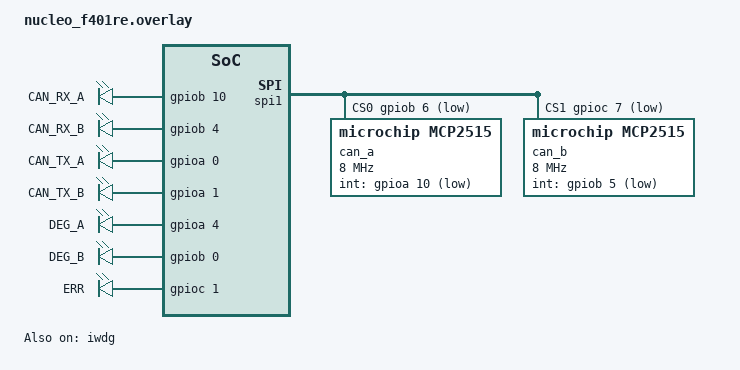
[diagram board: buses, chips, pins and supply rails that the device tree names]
/*
 * car_can_app - pins shared by N2 and N3 (Team 2 wiring)
 *
 *   CAN modules (XIAO MCP2515 + SN65HVD230), both on SPI1
 *     SCK PA5 (D13)  MOSI PA7 (D11)  MISO PA6 (D12)   shared
 *     CAN A: CS PB6 (D10)  INT PA10 (D2)
 *     CAN B: CS PC7 (D9)   INT PB5  (D4)
 *     Crystal 16.000 MHz (read off the module), 500 kbit/s
 *
 *   Test points / LEDs
 *     CAN_RX_A PB10 (D6)   CAN_RX_B PB4 (D5)
 *     CAN_TX_A PA0  (A0)   CAN_TX_B PA1 (A1)
 *     DEG_A    PA4  (A2)   DEG_B    PB0 (A3)
 *     ERR      PC1  (A4)
 *   Test button: B1, PC13 (board user button, sw0)
 *
 * Zone-specific pins are in node2.overlay / node3.overlay.
 */

/ {
    /* Plain GPIO outputs. gpio-leds is used only as a "named GPIO"
     * binding; no LED driver is enabled. */
    testpoints {
        compatible = "gpio-leds";

        tp_can_rx_a: tp_can_rx_a { gpios = <&gpiob 10 GPIO_ACTIVE_HIGH>; label = "CAN_RX_A"; };
        tp_can_rx_b: tp_can_rx_b { gpios = <&gpiob 4  GPIO_ACTIVE_HIGH>; label = "CAN_RX_B"; };
        tp_can_tx_a: tp_can_tx_a { gpios = <&gpioa 0  GPIO_ACTIVE_HIGH>; label = "CAN_TX_A"; };
        tp_can_tx_b: tp_can_tx_b { gpios = <&gpioa 1  GPIO_ACTIVE_HIGH>; label = "CAN_TX_B"; };
        led_deg_a:   led_deg_a   { gpios = <&gpioa 4  GPIO_ACTIVE_HIGH>; label = "DEG_A"; };
        led_deg_b:   led_deg_b   { gpios = <&gpiob 0  GPIO_ACTIVE_HIGH>; label = "DEG_B"; };
        tp_err:      tp_err      { gpios = <&gpioc 1  GPIO_ACTIVE_HIGH>; label = "ERR"; };
    };

    /* Board LED PWM uses TIM2 on PA5, which is SPI1 SCK here */
    pwmleds {
        status = "disabled";
    };
};

/* Board defaults that claim pins used here */
&usart1 { status = "disabled"; };   /* PB6 = CAN A chip select */
&i2c1   { status = "disabled"; };   /* PB8 = servo PWM on N2 */
&pwm2   { status = "disabled"; };   /* TIM2 on PA5 */

/* Independent watchdog (R4.5) */
&iwdg {
    status = "okay";
};

&spi1 {
    status = "okay";
    cs-gpios = <&gpiob 6 (GPIO_ACTIVE_LOW | GPIO_PULL_UP)>,   /* reg 0: CAN A */
               <&gpioc 7 (GPIO_ACTIVE_LOW | GPIO_PULL_UP)>;   /* reg 1: CAN B */

    can_a: mcp2515@0 {
        compatible = "microchip,mcp2515";
        reg = <0>;
        spi-max-frequency = <8000000>;      /* MCP2515 max 10 MHz; margin for jumpers */
        int-gpios = <&gpioa 10 GPIO_ACTIVE_LOW>;
        osc-freq = <16000000>;              /* 16.000 MHz crystal, confirmed */
        bitrate = <500000>;
        status = "okay";
    };

    can_b: mcp2515@1 {
        compatible = "microchip,mcp2515";
        reg = <1>;
        spi-max-frequency = <8000000>;
        int-gpios = <&gpiob 5 GPIO_ACTIVE_LOW>;
        osc-freq = <16000000>;
        bitrate = <500000>;
        status = "okay";
    };
};
